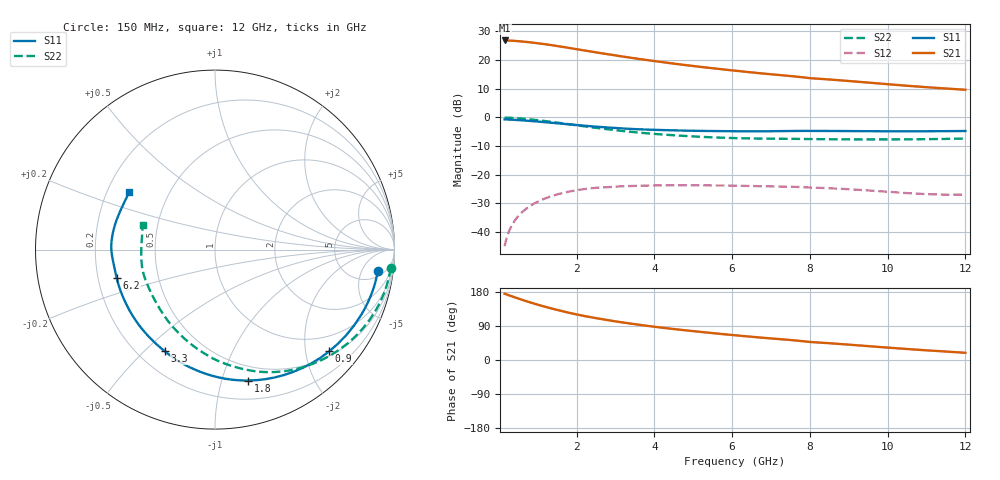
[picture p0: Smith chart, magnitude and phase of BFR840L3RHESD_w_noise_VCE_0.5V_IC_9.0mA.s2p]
! Infineon Technologies  Discrete & RF Semiconductors
! BFR840L3RHESD
! VCE =  0.5 V,  IC =  9.0 mA
! Common Emitter S-Parameters:  Jun 2012
# GHz  S  MA  R  50
!  f  S11  S21  S12  S22
! GHz  MAG  ANG  MAG  ANG  MAG  ANG  MAG  ANG
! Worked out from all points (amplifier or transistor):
!   91 points, 150 MHz to 12 GHz, reference 50 ohm
!   highest |S21| = 26.7 dB at 150 MHz (marker M1)
!   |S21| within 3 dB of that: start of sweep to 1.986 GHz
!   unconditionally stable (mu >= 1): 8.448 GHz to end of sweep
!   at 1.3 GHz: K = 0.13, MSG = 26.5 dB, |S12| = -27.7 dB
!   at 4.3 GHz: K = 0.41, MSG = 21.4 dB, |S12| = -23.7 dB
!   at 12 GHz: K = 2.04, MAG = 12.4 dB, |S12| = -26.9 dB
!   lowest NFmin = 0.66 dB at 450 MHz
!   S11 on the Smith chart (normalised r, x): 150 MHz: 7, -10; 900 MHz: 0.60, -2.50; 1.8 GHz: 0.36, -1.22; 3.3 GHz: 0.31, -0.58; 6.2 GHz: 0.28, -0.13; 12 GHz: 0.29, +0.28
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0.15  0.9147 -7.4  21.71 174.8  0.0057 83.2  0.9838 -6.0
0.3  0.908 -14.6  21.55 169.4  0.0118 77.8  0.9765 -12.3
0.5  0.8922 -24.0  21.09 162.2  0.019 73.6  0.9583 -20.4
0.7  0.873 -33.1  20.49 155.4  0.0254 68.6  0.9336 -28.1
0.9  0.8521 -41.7  19.79 149.1  0.0312 63.3  0.9046 -35.4
1.1  0.8303 -49.9  19.03 143.1  0.0364 58.2  0.8729 -42.4
1.3  0.8079 -57.7  18.21 137.5  0.0411 53.6  0.8399 -49.0
1.5  0.7855 -65.2  17.37 132.2  0.0453 49.5  0.8067 -55.4
1.8  0.7527 -75.7  16.11 124.8  0.0507 44.0  0.7573 -64.3
2.2  0.7123 -88.4  14.54 116.1  0.0562 37.7  0.6945 -74.9
2.5  0.6861 -96.8  13.47 110.5  0.0591 33.5  0.6529 -82.2
2.8  0.6639 -104.4  12.52 105.3  0.0607 29.9  0.6184 -88.8
3.3  0.6317 -116.3  11.1 97.4  0.0633 24.5  0.5658 -99.2
3.7  0.6139 -124.6  10.14 91.7  0.0644 20.9  0.5332 -106.7
4.2  0.5986 -133.9  9.119 85.3  0.0652 17.2  0.5013 -115.2
5.1  0.58 -148.8  7.655 75.1  0.0654 11.7  0.4599 -129.3
6.1  0.5707 -162.4  6.441 65.0  0.0643 6.7  0.4332 -143.2
6.2  0.5701 -163.7  6.336 64.1  0.0641 6.3  0.4315 -144.5
8  0.5782 174.8  4.791 47.6  0.0598 0.2  0.4169 -167.6
8.5  0.5767 170.7  4.542 44.3  0.0581 -0.9  0.4142 -171.9
10.5  0.5695 154.5  3.532 29.0  0.0478 -0.4  0.4124 170.8
12  0.576 146.0  3.011 19.0  0.045 7.9  0.4256 161.6
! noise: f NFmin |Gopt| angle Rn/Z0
0.45  0.66  0.35  7  0.16
0.9  0.69  0.36  12  0.16
1.9  0.72  0.37  29  0.15
3.5  0.73  0.35  49  0.14
4  0.75  0.35  59  0.14
5.5  0.78  0.36  72  0.13
7  0.85  0.35  92  0.11
8  0.91  0.33  102  0.11
10  1.01  0.32  124  0.1
12  1.16  0.28  156  0.09
